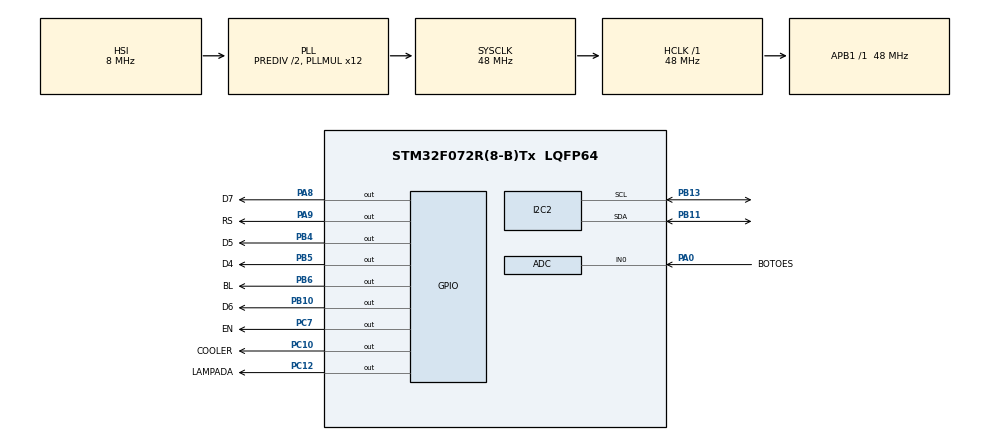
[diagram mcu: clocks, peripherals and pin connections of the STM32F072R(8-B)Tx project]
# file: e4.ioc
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ADC.ClockPrescaler=ADC_CLOCK_ASYNC_DIV1
ADC.ContinuousConvMode=DISABLE
ADC.DMAContinuousRequests=DISABLE
ADC.DataAlign=ADC_DATAALIGN_RIGHT
ADC.DiscontinuousConvMode=ENABLE
ADC.EOCSelection=ADC_EOC_SINGLE_CONV
ADC.EnableAnalogWatchDog=false
ADC.ExternalTrigConv=ADC_SOFTWARE_START
ADC.ExternalTrigConvEdge=ADC_EXTERNALTRIGCONVEDGE_NONE
ADC.LowPowerAutoPowerOff=DISABLE
ADC.LowPowerAutoWait=DISABLE
ADC.Overrun=ADC_OVR_DATA_PRESERVED
ADC.Resolution=ADC_RESOLUTION_10B
ADC.SamplingTime=ADC_SAMPLETIME_13CYCLES_5
ADC.ScanConvMode=ADC_SCAN_DIRECTION_FORWARD
Mcu.Family=STM32F0
Mcu.Name=STM32F072R(8-B)Tx
Mcu.Package=LQFP64
PA0.GPIO_Label=BOTOES
PA0.Mode=IN0
PA0.Signal=ADC_IN0
PA13.GPIO_Label=TMS
PA13.Signal=SYS_SWDIO
PA14.GPIO_Label=TCK
PA14.Signal=SYS_SWCLK
PA2.GPIO_Label=USART_TX
PA2.GPIO_Mode=GPIO_MODE_AF_PP
PA2.GPIO_PuPd=GPIO_NOPULL
PA2.GPIO_Speed=GPIO_SPEED_FREQ_LOW
PA2.Signal=USART2_TX
PA3.GPIO_Label=USART_RX
PA3.GPIO_Mode=GPIO_MODE_AF_PP
PA3.GPIO_PuPd=GPIO_NOPULL
PA3.GPIO_Speed=GPIO_SPEED_FREQ_LOW
PA3.Signal=USART2_RX
PA8.GPIO_Label=D7
PA8.Signal=GPIO_Output
PA9.GPIO_Label=RS
PA9.Signal=GPIO_Output
PB10.GPIO_Label=D6
PB10.Signal=GPIO_Output
PB11.Mode=I2C
PB11.Signal=I2C2_SDA
PB13.Mode=I2C
PB13.Signal=I2C2_SCL
PB4.GPIO_Label=D5
PB4.Signal=GPIO_Output
PB5.GPIO_Label=D4
PB5.Signal=GPIO_Output
PB6.GPIO_Label=BL
PB6.Signal=GPIO_Output
PC10.GPIO_Label=COOLER
PC10.Signal=GPIO_Output
PC12.GPIO_Label=LAMPADA
PC12.Signal=GPIO_Output
PC14-OSC32_IN.Mode=LSE-External-Oscillator
PC14-OSC32_IN.Signal=RCC_OSC32_IN
PC15-OSC32_OUT.Mode=LSE-External-Oscillator
PC15-OSC32_OUT.Signal=RCC_OSC32_OUT
PC7.GPIO_Label=EN
PC7.Signal=GPIO_Output
PF0-OSC_IN.Signal=RCC_OSC_IN
PF1-OSC_OUT.Signal=RCC_OSC_OUT
ProjectManager.HeapSize=0x200
ProjectManager.StackSize=0x400
ProjectManager.TargetToolchain=MDK-ARM V5
RCC.AHBFreq_Value=48000000
RCC.APB1Freq_Value=48000000
RCC.APB1TimFreq_Value=48000000
RCC.FLatency-AdvancedSettings=FLASH_LATENCY_1
RCC.HCLKFreq_Value=48000000
RCC.PLLDivider=RCC_PREDIV_DIV2
RCC.PLLMUL=RCC_PLL_MUL12
RCC.PLLSourceVirtual=RCC_PLLSOURCE_HSI
RCC.RTCClockSelection=RCC_RTCCLKSOURCE_LSE
RCC.SYSCLKFreq_VALUE=48000000
RCC.SYSCLKSource=RCC_SYSCLKSOURCE_PLLCLK
board=NUCLEO-F072RB

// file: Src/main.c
/**
  ******************************************************************************
  * File Name          : main.c
  * Description        : Main program body
  ******************************************************************************
  ** This notice applies to any and all portions of this file
  * that are not between comment pairs USER CODE BEGIN and
  * USER CODE END. Other portions of this file, whether
  * inserted by the user or by software development tools
  * are owned by their respective copyright owners.
  *
  * COPYRIGHT(c) 2017 STMicroelectronics
  *
  * Redistribution and use in source and binary forms, with or without modification,
  * are permitted provided that the following conditions are met:
  *   1. Redistributions of source code must retain the above copyright notice,
  *      this list of conditions and the following disclaimer.
  *   2. Redistributions in binary form must reproduce the above copyright notice,
  *      this list of conditions and the following disclaimer in the documentation
  *      and/or other materials provided with the distribution.
  *   3. Neither the name of STMicroelectronics nor the names of its contributors
  *      may be used to endorse or promote products derived from this software
  *      without specific prior written permission.
  *
  * THIS SOFTWARE IS PROVIDED BY THE COPYRIGHT HOLDERS AND CONTRIBUTORS "AS IS"
  * AND ANY EXPRESS OR IMPLIED WARRANTIES, INCLUDING, BUT NOT LIMITED TO, THE
  * IMPLIED WARRANTIES OF MERCHANTABILITY AND FITNESS FOR A PARTICULAR PURPOSE ARE
  * DISCLAIMED. IN NO EVENT SHALL THE COPYRIGHT HOLDER OR CONTRIBUTORS BE LIABLE
  * FOR ANY DIRECT, INDIRECT, INCIDENTAL, SPECIAL, EXEMPLARY, OR CONSEQUENTIAL
  * DAMAGES (INCLUDING, BUT NOT LIMITED TO, PROCUREMENT OF SUBSTITUTE GOODS OR
  * SERVICES; LOSS OF USE, DATA, OR PROFITS; OR BUSINESS INTERRUPTION) HOWEVER
  * CAUSED AND ON ANY THEORY OF LIABILITY, WHETHER IN CONTRACT, STRICT LIABILITY,
  * OR TORT (INCLUDING NEGLIGENCE OR OTHERWISE) ARISING IN ANY WAY OUT OF THE USE
  * OF THIS SOFTWARE, EVEN IF ADVISED OF THE POSSIBILITY OF SUCH DAMAGE.
  *
  ******************************************************************************
  */
#include "main.h"
#include "stm32f0xx_hal.h"
#include "adc.h"
#include "i2c.h"
#include "gpio.h"

/* USER CODE BEGIN Includes */
#define SDA (1<<9) //PB.9 - Pode alterar
#define SCL (1<<8) //PB.8 - Pode alterar
#define SDA0 GPIOB->BRR=SDA
#define SDA1 GPIOB->BSRR=SDA
#define SCL0 GPIOB->BRR=SCL
#define SCL1 GPIOB->BSRR=SCL

/* USER CODE END Includes */

/* USER CODE BEGIN PV */
int tec;
int LDR;
int x=0;
int dez_temp=0, uni_temp=0;
int temp_ajuste=0;
int temp_atual=0;
char estado[]="";
char temp_at[]="";

char temp_t[]="";

/* Private variables ---------------------------------------------------------*/

/* USER CODE END PV */

void SystemClock_Config(void);

/* USER CODE BEGIN PFP */
/* Private function prototypes -----------------------------------------------*/
void dados(int comando);
void lcd_comando(int comando);
void lcd_dado(int dado);
void lcd_init(void);
void lcd_string(char vetor[]);
void lcd_clear(void);
void lcd_goto(int linha, int coluna);
void rele(int num);
void modo_prog(void);
void modo_temp(void);

//I2C daqui pra BAIXO
void configura_sensor();
void start_i2c();
void stop_i2c();
void envia_1_i2c();
void envia_0_i2c();
void ack_i2c();
//void envia_byte_i2c();
float le_temp_i2c();

/* USER CODE END PFP */

/* USER CODE BEGIN 0 */

void configura_sensor()
{
    unsigned char conf = 0x00;
    HAL_I2C_MEM_Write(&hi2c,0x4f,1,1,&conf,1,10);
//    char x=0;
//    start_i2c();
//    envia_1_i2c();
//    envia_0_i2c();
//    envia_0_i2c();
//    envia_1_i2c();
//    envia_0_i2c();
//    envia_0_i2c();
//    envia_0_i2c();
//    envia_0_i2c(); //0 pois ´e escrita
//    x = ack_i2c();
//    envia_byte_i2c(0x00);
//    x = ack_i2c();
//    envia_byte_i2c(0x00);
//    x = ack_i2c();
//    stop_i2c();
}

void start_i2c(void) //I2C START
{
    SDA1;
    HAL_Delay(1);//1 milisegundo
    SCL1;
    HAL_Delay(1);//1 milisegundo
    SDA0;
    HAL_Delay(1);//1 milisegundo
    SCL0;
    HAL_Delay(1);//1 milisegundo
}

void stop_i2c(void) //I2C STOP
{
    SDA0;
    HAL_Delay(1);//1 milisegundo
    SCL0;
    HAL_Delay(1);//1 milisegundo
    SCL1;
    HAL_Delay(1);//1 milisegundo
    SDA1;
    HAL_Delay(1);//1 milisegundo
}

void envia_1_i2c(void) //Envia 1 pelo I2C
{
    SDA1;
    HAL_Delay(1);//1 milisegundo
    SCL1;
    HAL_Delay(1);//1 milisegundo
    SCL0;
    HAL_Delay(1);//1 milisegundo
}

void envia_0_i2c(void) //Envia 0 pelo I2C
{
    SDA0;
    HAL_Delay(1);//1 milisegundo
    SCL1;
    HAL_Delay(1);//1 milisegundo
    SCL0;
    HAL_Delay(1);//1 milisegundo
}

int ack_i2c(void)
{
    int x;
    GPIO_InitTypeDef GPIO_InitStruct;
    GPIO_InitStruct.Pin = GPIO_PIN_7; // SDA => PB.7
    GPIO_InitStruct.Mode = GPIO_MODE_INPUT; //FAZ SDA COMO ENTRADA
    GPIO_InitStruct.Pull = GPIO_NOPULL;
    GPIO_InitStruct.Speed = GPIO_SPEED_LOW;
    HAL_GPIO_Init(GPIOB, &GPIO_InitStruct);
    SCL1;
    HAL_Delay(1);//1 milisegundo
    x = HAL_GPIO_ReadPin(GPIOB,SDA); //L^E O PINO
    SCL0;
    HAL_Delay(1);//1 milisegundo
    GPIO_InitStruct.Pin = GPIO_PIN_7; // SDA => PB.7
    GPIO_InitStruct.Mode = GPIO_MODE_OUTPUT_PP; //FAZ SDA COMO SA´IDA
    GPIO_InitStruct.Pull = GPIO_NOPULL;
    GPIO_InitStruct.Speed = GPIO_SPEED_LOW;
    HAL_GPIO_Init(GPIOB, &GPIO_InitStruct);

    return x; //se 0 ok, se 1 erro
}

float le_temp_i2c()
{
    float temperatura;
    char temp[2];

    HAL_I2C_MeM_Read(&hi2c,0x4f,1,1,&temp,2,20);
    temperatura=temp[1];
    if(temp[0]&(1<<7)!=0) temperatura+=0.5;

    return temperatura;
}

void dados(int comando)
{
	if((comando & 0x80)==0)
		GPIOA->BRR=D7_Pin; //D7=0
	else
		GPIOA->BSRR=D7_Pin; //D7=1

	if((comando & 0x40)==0)
		GPIOB->BRR=D6_Pin; //D6=0
	else
		GPIOB->BSRR=D6_Pin; //D6=0

	if((comando & 0x20)==0)
		GPIOB->BRR=D5_Pin; //D5=0
	else
		GPIOB->BSRR=D5_Pin; //D5=1

	if((comando & 0x10)==0)
		GPIOB->BRR=D4_Pin; //D4=0
	else
		GPIOB->BSRR=D4_Pin; //D4=1

	GPIOC->BSRR=EN_Pin; //EN=1
	HAL_Delay(1);
	GPIOC->BRR=EN_Pin; //EN=0
	HAL_Delay(1);

	//////

	if((comando & 0x8)==0)
		GPIOA->BRR=D7_Pin; //D7=0
	else
		GPIOA->BSRR=D7_Pin; //D7=1

	if((comando & 0x4)==0)
		GPIOB->BRR=D6_Pin; //D6=0
	else
		GPIOB->BSRR=D6_Pin; //D6=0

	if((comando & 0x2)==0)
		GPIOB->BRR=D5_Pin; //D5=0
	else
		GPIOB->BSRR=D5_Pin; //D5=1

	if((comando & 0x1)==0)
		GPIOB->BRR=D4_Pin; //D4=0
	else
		GPIOB->BSRR=D4_Pin; //D4=1

	GPIOC->BSRR=EN_Pin; //EN=1
	HAL_Delay(1);
	GPIOC->BRR=EN_Pin; //EN=0
	HAL_Delay(1);
}

void lcd_comando(int comando)
{
	GPIOA->BRR=RS_Pin;
	dados(comando);
}

void lcd_dado(int dado)
{
	GPIOA->BSRR=RS_Pin;
	dados(dado);
}

void lcd_init(void)
{
	lcd_comando(0x33);
	lcd_comando(0x32);
	lcd_comando(0x28);
	lcd_comando(0x0e);
	lcd_comando(0x06);
	lcd_comando(0x01);
	HAL_Delay(1);
}

void lcd_string(char vetor[])
{
	for(int k=0;vetor[k]!=0;k++)
		lcd_dado(vetor[k]);
}

void lcd_clear(void)
{
	lcd_comando(0x01);
}

void lcd_goto(int linha, int coluna)
{
	int v;
	if(linha==1)
		v = 0x80 + (coluna-1)*0x01;
	else if(linha==2)
		v = 0xc0 + (coluna-1)*0x01;
	lcd_comando(v);
}

void rele(int num)//1- LAMPADA, 2- COOLER
{
	if(num==1)
	{
		GPIOC->BSRR=1<<12;
		GPIOC->BRR=1<<10;
	}
	if(num==2)
	{
		GPIOC->BSRR=1<<10;
		GPIOC->BRR=1<<12;
	}
	if(num==0)
	{
		GPIOC->BRR=1<<10;
		GPIOC->BRR=1<<12;
	}
}
int le_teclas(void)
{
	int tecla=0;
	HAL_ADC_Start(&hadc);
	HAL_ADC_PollForConversion(&hadc,ADC_CHANNEL_10);
	LDR=HAL_ADC_GetValue(&hadc);
	if((LDR>650)&&(LDR<800))tecla=1; //CONFIGURA (LEFT)
	else if((LDR>100)&&(LDR<300))tecla=2; //DEZ_MAIS (UP)
	else if((LDR>400)&&(LDR<600))tecla=3; //UNI_MAIS (DOWN)
	else if(LDR<50)tecla=4; //CONFIRMA (RIGTH)
	else tecla=0;
	return tecla;
}

void teclas_livres(void)
{
	while(le_teclas()!=0);
}
int aguarda_tecla(void)
{
	int tecla=0;
	while(tecla==0) tecla=le_teclas();
	teclas_livres();
	return tecla;
}
void modo_prog(void)
{
	lcd_clear();
	lcd_goto(1,1);
	lcd_string("MODO PROGRAMACAO");
	lcd_goto(2,1);
	lcd_string("TEMPERATURA:");
	HAL_Delay(10);

	while(le_teclas()!=4)
	{

		lcd_goto(2,14);
		sprintf(temp_t,"%d%d",dez_temp,uni_temp);
		lcd_string(temp_t);
		HAL_Delay(10);
		tec= aguarda_tecla();
		if(tec==4) modo_temp(); //SE CONFIRMAR VAI PARA MODO ESTUFA
		if(tec==2) //INCREMENTA DEZENA TEMPERATURA
		{
			if(dez_temp<9) dez_temp++;
			else dez_temp=0;
		}
		if(tec==3) //INCREMENTA UNIDADE_TEMPERATURA
		{
			if(uni_temp<9) uni_temp++;
			else uni_temp=0;
		}
	}
}
void modo_temp(void)
{
	lcd_clear();
	lcd_goto(1,1);
	lcd_string("ESTUFA:");
	lcd_goto(2,1);
	lcd_string("TEMP:");
	HAL_Delay(10);

	while(le_teclas()!=4)
	{
		//LE TEMPERATURA
		//TESTA TEMPERATURA
		//LIGA COOLER OU LAMPADA
		temp_ajuste=(dez_temp*10) + uni_temp;
		temp_atual=13;
		if(temp_atual==temp_ajuste)
		{
			rele(0);
			sprintf(estado,"%s","DESLIG");
		}
		if(temp_atual>temp_ajuste)
		{
			rele(2); //LIGA COOLER
			sprintf(estado,"%s","RESFR");
		}
		if(temp_atual<temp_ajuste)
		{
			rele(1); //LIGA LAMPADA
			sprintf(estado,"%s","AQUEC");
		}
		lcd_goto(2,7);
		sprintf(temp_at,"%d",temp_atual);
		lcd_string(temp_at);
		lcd_goto(2,10);
		lcd_string(estado);

		tec=aguarda_tecla();
		if(tec==4) modo_prog(); //SE CONFIRMAR VAI PARA MODO PROGRAMACAO
		teclas_livres();
	}
}

/* USER CODE END 0 */

int main(void)
{

  /* MCU Configuration----------------------------------------------------------*/

  /* Reset of all peripherals, Initializes the Flash interface and the Systick. */
  HAL_Init();

  /* Configure the system clock */
  SystemClock_Config();

  /* Initialize all configured peripherals */
  MX_GPIO_Init();
  MX_I2C2_Init();
  MX_ADC_Init();

  /* USER CODE BEGIN 2 */
		lcd_init();
		GPIOB->BSRR=BL_Pin;

	//BOTOES
		ADC_ChannelConfTypeDef sConfig;
		HAL_ADC_Start(&hadc);
		HAL_ADCEx_Calibration_Start(&hadc);
		sConfig.Channel=ADC_CHANNEL_0;
		HAL_ADC_ConfigChannel(&hadc,&sConfig);

		lcd_goto(1,6);
		lcd_string("ESTUFA");

  /* USER CODE END 2 */

  /* Infinite loop */
  /* USER CODE BEGIN WHILE */
  while (1)
  {
		tec=aguarda_tecla();

		if(tec==1) modo_prog();

  /* USER CODE END WHILE */

  }

}

/** System Clock Configuration
*/
void SystemClock_Config(void)
{

  RCC_OscInitTypeDef RCC_OscInitStruct;
  RCC_ClkInitTypeDef RCC_ClkInitStruct;

    /**Initializes the CPU, AHB and APB busses clocks
    */
  RCC_OscInitStruct.OscillatorType = RCC_OSCILLATORTYPE_HSI|RCC_OSCILLATORTYPE_HSI14;
  RCC_OscInitStruct.HSIState = RCC_HSI_ON;
  RCC_OscInitStruct.HSI14State = RCC_HSI14_ON;
  RCC_OscInitStruct.HSICalibrationValue = 16;
  RCC_OscInitStruct.HSI14CalibrationValue = 16;
  RCC_OscInitStruct.PLL.PLLState = RCC_PLL_ON;
  RCC_OscInitStruct.PLL.PLLSource = RCC_PLLSOURCE_HSI;
  RCC_OscInitStruct.PLL.PLLMUL = RCC_PLL_MUL12;
  RCC_OscInitStruct.PLL.PREDIV = RCC_PREDIV_DIV2;
  if (HAL_RCC_OscConfig(&RCC_OscInitStruct) != HAL_OK)
  {
    _Error_Handler(__FILE__, __LINE__);
  }

    /**Initializes the CPU, AHB and APB busses clocks
    */
  RCC_ClkInitStruct.ClockType = RCC_CLOCKTYPE_HCLK|RCC_CLOCKTYPE_SYSCLK
                              |RCC_CLOCKTYPE_PCLK1;
  RCC_ClkInitStruct.SYSCLKSource = RCC_SYSCLKSOURCE_PLLCLK;
  RCC_ClkInitStruct.AHBCLKDivider = RCC_SYSCLK_DIV1;
  RCC_ClkInitStruct.APB1CLKDivider = RCC_HCLK_DIV1;

  if (HAL_RCC_ClockConfig(&RCC_ClkInitStruct, FLASH_LATENCY_1) != HAL_OK)
  {
    _Error_Handler(__FILE__, __LINE__);
  }

    /**Configure the Systick interrupt time
    */
  HAL_SYSTICK_Config(HAL_RCC_GetHCLKFreq()/1000);

    /**Configure the Systick
    */
  HAL_SYSTICK_CLKSourceConfig(SYSTICK_CLKSOURCE_HCLK);

  /* SysTick_IRQn interrupt configuration */
  HAL_NVIC_SetPriority(SysTick_IRQn, 0, 0);
}

void _Error_Handler(char * file, int line)
{
  while(1)
  {
  }
}

/************************ (C) COPYRIGHT STMicroelectronics *****END OF FILE****/
